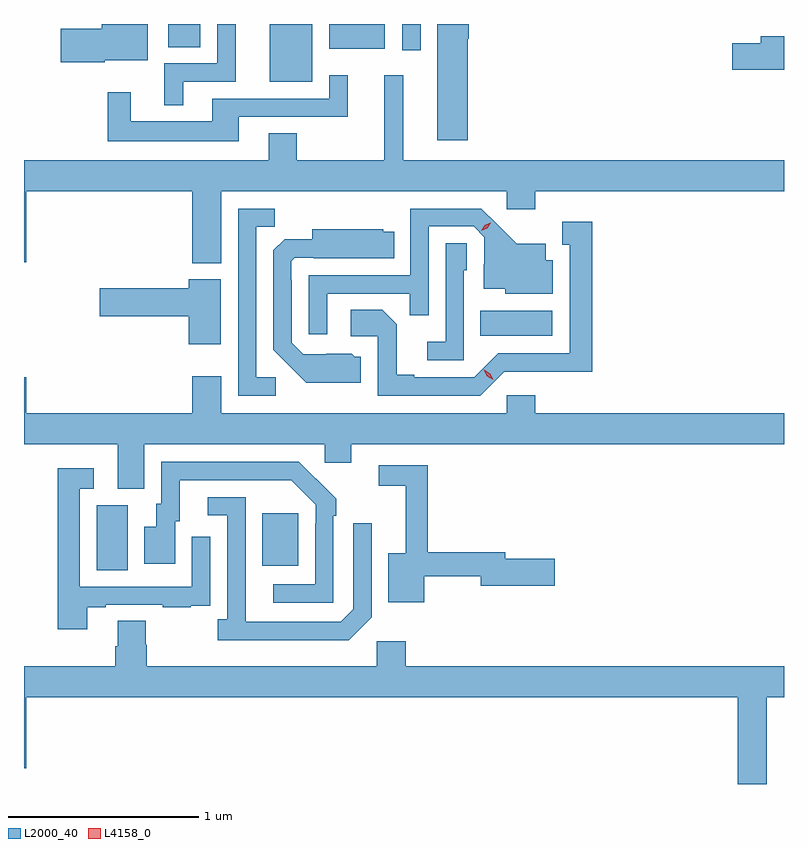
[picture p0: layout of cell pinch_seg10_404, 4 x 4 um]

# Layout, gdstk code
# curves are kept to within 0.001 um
import gdstk
lib = gdstk.Library(unit=1e-6, precision=1e-09)
def R(c, l, rs):  # rectangles x0, y0, x1, y1
    for r in rs: c.add(gdstk.rectangle(r[:2], r[2:], *l))
def P(c, l, *ps):  # polygons
    for p in ps: c.add(gdstk.Polygon(p, *l))
L2000_40 = (2000, 40)
L4158_0 = (4158, 0)

pinch_seg10_404 = lib.new_cell('pinch_seg10_404')
R(pinch_seg10_404, L2000_40, [(369.338,1303.648,369.502,1303.992), (370.211,1303.673,370.399,1303.948), (371.356,1304.882,371.737,1305.016), (370.25,1306.22,370.474,1306.524), (370.947,1306.386,371.043,1306.524), (370.562,1306.394,370.855,1306.524), (369.716,1306.402,369.883,1306.524)])
P(pinch_seg10_404, L2000_40, [(369.381,1306.334),(369.607,1306.334),(369.607,1306.524),(369.365,1306.524),(369.365,1306.5),(369.15,1306.5),(369.15,1306.322),(369.381,1306.322)],
  [(371.291,1306.446),(371.296,1306.446),(371.296,1306.524),(371.132,1306.524),(371.132,1305.912),(371.291,1305.912)],
  [(369.793,1306.221),(370.07,1306.221),(370.07,1306.524),(369.972,1306.524),(369.972,1306.317),(369.695,1306.317),(369.695,1306.097),(369.793,1306.097)],
  [(372.956,1306.46),(372.833,1306.46),(372.833,1306.424),(372.684,1306.424),(372.684,1306.282),(372.956,1306.282)],
  [(369.994,1305.644),(371.496,1305.644),(371.496,1305.549),(371.648,1305.549),(371.648,1305.644),(372.956,1305.644),(372.956,1305.808),(370.952,1305.808),(370.952,1306.255),(370.853,1306.255),(370.853,1305.808),(370.392,1305.808),(370.392,1305.95),(370.244,1305.95),(370.244,1305.808),(368.956,1305.808),(368.956,1305.27),(368.968,1305.27),(368.968,1305.644),(369.842,1305.644),(369.842,1305.266),(369.994,1305.266)],
  [(370.087,1306.035),(370.661,1306.035),(370.661,1306.255),(370.563,1306.255),(370.563,1306.131),(369.947,1306.131),(369.947,1306.012),(369.517,1306.012),(369.517,1306.165),(369.396,1306.165),(369.396,1305.908),(370.087,1305.908)],
  [(370.282,1304.664),(370.179,1304.664),(370.179,1305.457),(370.275,1305.457),(370.275,1305.552),(370.083,1305.552),(370.083,1304.568),(370.282,1304.568)],
  [(370.551,1305.105),(370.987,1305.105),(370.987,1304.992),(371.085,1304.992),(371.085,1305.459),(371.322,1305.459),(371.379,1305.402),(371.379,1305.26),(371.375,1305.26),(371.375,1305.131),(371.49,1305.131),(371.49,1305.104),(371.74,1305.104),(371.74,1305.28),(371.701,1305.28),(371.701,1305.367),(371.549,1305.367),(371.362,1305.552),(370.989,1305.552),(370.989,1305.201),(370.455,1305.201),(370.455,1304.892),(370.551,1304.892)],
  [(371.484,1304.694),(371.947,1304.693),(371.947,1305.484),(371.789,1305.484),(371.789,1305.363),(371.828,1305.363),(371.828,1304.79),(371.451,1304.79),(371.325,1304.664),(371.011,1304.664),(371.011,1304.677),(370.917,1304.677),(370.917,1304.944),(370.841,1305.02),(370.677,1305.02),(370.677,1304.88),(370.818,1304.88),(370.818,1304.568),(371.358,1304.568)],
  [(370.729,1304.772),(370.698,1304.772),(370.682,1304.788),(370.425,1304.787),(370.365,1304.847),(370.365,1305.176),(370.362,1305.176),(370.362,1305.276),(370.38,1305.294),(370.48,1305.294),(370.48,1305.29),(370.904,1305.29),(370.904,1305.43),(370.848,1305.43),(370.848,1305.445),(370.472,1305.445),(370.472,1305.391),(370.328,1305.391),(370.269,1305.332),(370.269,1304.81),(370.441,1304.636),(370.729,1304.636)],
  [(371.271,1305.228),(371.286,1305.228),(371.286,1305.371),(371.175,1305.371),(371.175,1304.851),(371.079,1304.851),(371.079,1304.754),(371.271,1304.754)],
  [(369.991,1305.181),(369.824,1305.181),(369.824,1305.134),(369.354,1305.134),(369.354,1304.987),(369.824,1304.987),(369.824,1304.838),(369.991,1304.838)],
  [(369.589,1304.312),(370.539,1304.312),(370.539,1304.214),(370.678,1304.214),(370.678,1304.312),(372.956,1304.312),(372.956,1304.476),(371.648,1304.476),(371.648,1304.569),(371.496,1304.569),(371.496,1304.476),(369.994,1304.476),(369.994,1304.671),(369.842,1304.671),(369.842,1304.476),(368.968,1304.476),(368.968,1304.665),(368.956,1304.665),(368.956,1304.312),(369.449,1304.312),(369.449,1304.077),(369.589,1304.077)],
  [(370.584,1303.937),(370.599,1303.937),(370.599,1304.025),(370.402,1304.22),(369.678,1304.22),(369.678,1303.998),(369.653,1303.998),(369.653,1303.879),(369.59,1303.879),(369.59,1303.683),(369.751,1303.683),(369.751,1303.908),(369.775,1303.908),(369.775,1304.124),(370.363,1304.124),(370.491,1303.995),(370.491,1303.895),(370.488,1303.895),(370.488,1303.575),(370.269,1303.575),(370.269,1303.479),(370.584,1303.479)],
  [(371.062,1303.617),(371.36,1303.617),(371.36,1303.567),(371.749,1303.567),(371.749,1303.709),(371.488,1303.709),(371.488,1303.745),(371.081,1303.745),(371.081,1304.202),(370.824,1304.202),(370.824,1304.094),(370.964,1304.094),(370.964,1303.738),(370.874,1303.738),(370.874,1303.481),(371.062,1303.481)],
  [(369.289,1303.455),(369.385,1303.455),(369.385,1303.467),(369.685,1303.467),(369.685,1303.455),(369.833,1303.455),(369.833,1303.461),(369.935,1303.461),(369.935,1303.57),(369.936,1303.57),(369.936,1303.825),(369.84,1303.825),(369.84,1303.563),(369.249,1303.563),(369.249,1304.079),(369.322,1304.079),(369.322,1304.185),(369.133,1304.185),(369.133,1303.338),(369.289,1303.338)],
  [(370.785,1303.401),(370.785,1303.897),(370.689,1303.897),(370.689,1303.443),(370.623,1303.377),(370.123,1303.377),(370.122,1304.034),(369.924,1304.034),(369.924,1303.938),(370.026,1303.938),(370.026,1303.39),(369.975,1303.39),(369.975,1303.28),(370.664,1303.28)],
  [(372.865,1302.98),(372.956,1302.98),(372.956,1303.144),(370.964,1303.144),(370.964,1303.276),(370.812,1303.276),(370.812,1303.144),(369.602,1303.144),(369.602,1303.257),(369.597,1303.257),(369.597,1303.382),(369.449,1303.382),(369.449,1303.25),(369.437,1303.25),(369.437,1303.144),(368.956,1303.144),(368.956,1302.606),(368.968,1302.606),(368.968,1302.98),(372.713,1302.98),(372.713,1302.524),(372.865,1302.524)])
P(pinch_seg10_404, L4158_0, [(371.427,1304.652),(371.395,1304.67),(371.377,1304.703),(371.377,1304.703),(371.378,1304.703),(371.409,1304.684),(371.427,1304.652),(371.427,1304.652)],
  [(371.362,1305.435),(371.362,1305.435),(371.38,1305.464),(371.411,1305.479),(371.412,1305.479),(371.412,1305.479),(371.394,1305.45),(371.363,1305.435)])

lib.write_gds('pinch_seg10_404.gds')
